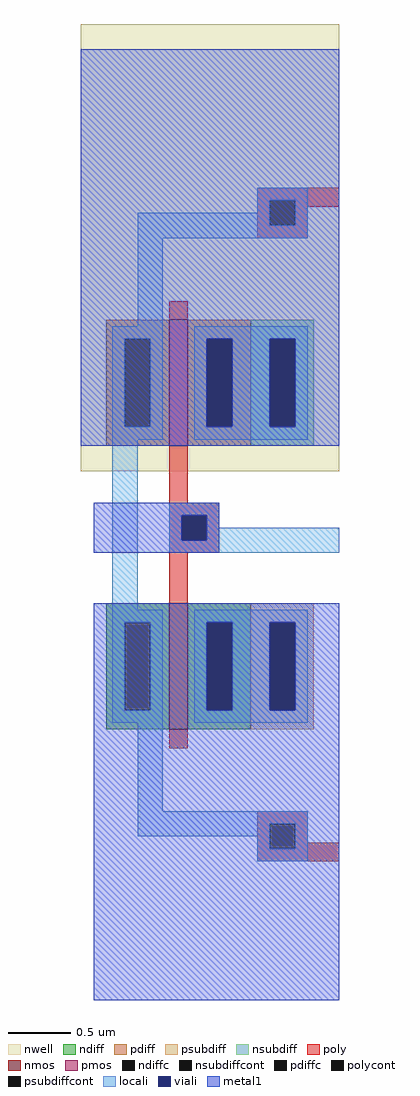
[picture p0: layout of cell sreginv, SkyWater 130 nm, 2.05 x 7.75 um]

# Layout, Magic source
magic
tech sky130A
<< nwell >>
rect -270 630 -65 985
<< nmos >>
rect -200 425 -185 525
<< pmos >>
rect -200 650 -185 750
<< ndiff >>
rect -250 510 -200 525
rect -250 440 -235 510
rect -215 440 -200 510
rect -250 425 -200 440
rect -185 510 -135 525
rect -185 440 -170 510
rect -150 440 -135 510
rect -185 425 -135 440
<< pdiff >>
rect -250 735 -200 750
rect -250 665 -235 735
rect -215 665 -200 735
rect -250 650 -200 665
rect -185 735 -135 750
rect -185 665 -170 735
rect -150 665 -135 735
rect -185 650 -135 665
<< ndiffc >>
rect -235 440 -215 510
rect -170 440 -150 510
<< pdiffc >>
rect -235 665 -215 735
rect -170 665 -150 735
<< psubdiff >>
rect -135 510 -85 525
rect -135 440 -120 510
rect -100 440 -85 510
rect -135 425 -85 440
<< nsubdiff >>
rect -135 735 -85 750
rect -135 665 -120 735
rect -100 665 -85 735
rect -135 650 -85 665
<< psubdiffcont >>
rect -120 440 -100 510
<< nsubdiffcont >>
rect -120 665 -100 735
<< poly >>
rect -130 845 -65 855
rect -130 825 -120 845
rect -100 840 -65 845
rect -100 825 -90 840
rect -130 815 -90 825
rect -200 750 -185 765
rect -200 605 -185 650
rect -200 595 -160 605
rect -200 575 -190 595
rect -170 575 -160 595
rect -200 565 -160 575
rect -200 525 -185 565
rect -200 410 -185 425
rect -130 350 -90 360
rect -130 330 -120 350
rect -100 335 -90 350
rect -100 330 -65 335
rect -130 320 -65 330
<< polycont >>
rect -120 825 -100 845
rect -190 575 -170 595
rect -120 330 -100 350
<< locali >>
rect -130 845 -90 855
rect -130 835 -120 845
rect -225 825 -120 835
rect -100 825 -90 845
rect -225 815 -90 825
rect -225 745 -205 815
rect -245 735 -205 745
rect -245 665 -235 735
rect -215 665 -205 735
rect -245 655 -205 665
rect -180 735 -90 745
rect -180 665 -170 735
rect -150 665 -120 735
rect -100 665 -90 735
rect -180 655 -90 665
rect -245 520 -225 655
rect -200 595 -160 605
rect -200 575 -190 595
rect -170 585 -160 595
rect -170 575 -65 585
rect -200 565 -65 575
rect -245 510 -205 520
rect -245 440 -235 510
rect -215 440 -205 510
rect -245 430 -205 440
rect -180 510 -90 520
rect -180 440 -170 510
rect -150 440 -120 510
rect -100 440 -90 510
rect -180 430 -90 440
rect -225 360 -205 430
rect -225 350 -90 360
rect -225 340 -120 350
rect -130 330 -120 340
rect -100 330 -90 350
rect -130 320 -90 330
<< viali >>
rect -170 665 -150 735
rect -120 665 -100 735
rect -190 575 -170 595
rect -170 440 -150 510
rect -120 440 -100 510
<< metal1 >>
rect -270 735 -65 965
rect -270 665 -170 735
rect -150 665 -120 735
rect -100 665 -65 735
rect -270 650 -65 665
rect -260 595 -160 605
rect -260 575 -190 595
rect -170 575 -160 595
rect -260 565 -160 575
rect -260 510 -65 525
rect -260 440 -170 510
rect -150 440 -120 510
rect -100 440 -65 510
rect -260 210 -65 440
<< end >>
